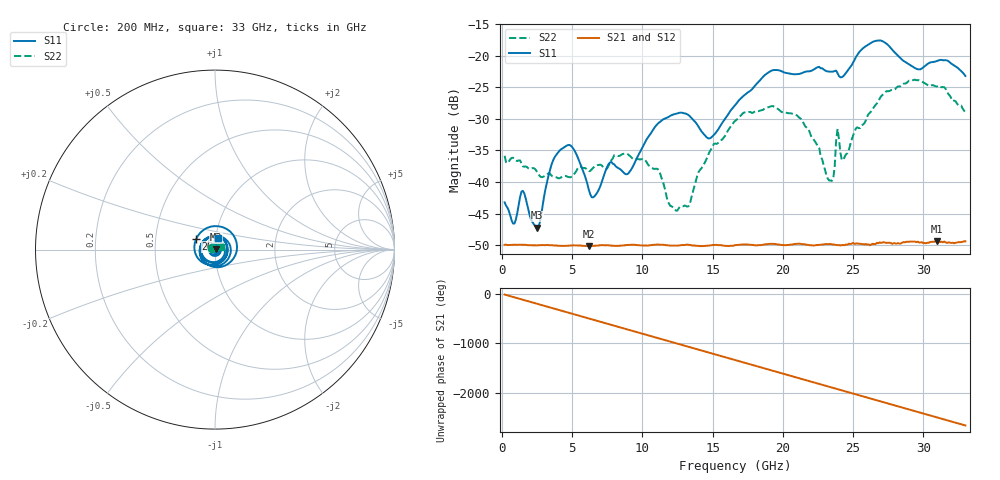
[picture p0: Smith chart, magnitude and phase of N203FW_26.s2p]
# GHZ S RI R 50
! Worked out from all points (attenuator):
!   329 points, 200 MHz to 33 GHz, reference 50 ohm
!   highest |S21| = -49.38 dB at 31 GHz (marker M1); lowest = -50.2 dB at 6.2 GHz (marker M2)
!   lowest |S11| = -47.2 dB at 2.5 GHz (marker M3), VSWR 1.01, Z = 50.4 + j0.261 ohm
!   |S11| at or under -10 dB: start of sweep to end of sweep
!   |S22| runs from -44.5 to -23.8 dB; largest |S21 - S12| = 8.8e-05
!   S11 on the Smith chart (normalised r, x): 200 MHz: 1.01, +0.01; 26 GHz: 0.80, +0.10; 33 GHz: 1.03, +0.14
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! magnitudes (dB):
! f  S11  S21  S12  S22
! 200 MHz  -43.2  -50.0  -49.9  -35.9
! 900 MHz  -46.6  -49.9  -49.9  -36.4
! 1.5 GHz  -41.4  -50.0  -49.9  -37.5
! 2.5 GHz  -47.2  -50.1  -50.0  -38.4
! 3.9 GHz  -35.6  -50.1  -50.1  -39.3
! 5.7 GHz  -37.8  -50.1  -50.1  -37.7
! 6.2 GHz  -41.3  -50.2  -50.1  -38.3
! 9 GHz  -38.7  -50.0  -50.0  -35.7
! 11.2 GHz  -30.6  -49.9  -49.9  -38.2
! 12 GHz  -29.5  -50.1  -50.1  -43.8
! 13.3 GHz  -29.4  -50.0  -50.0  -43.8
! 14.8 GHz  -33.1  -50.1  -50.0  -35.2
! 16.6 GHz  -27.9  -50.0  -50.0  -30.3
! 19.3 GHz  -22.3  -49.8  -49.8  -28.0
! 22.1 GHz  -22.3  -50.0  -50.0  -33.0
! 23.5 GHz  -22.5  -49.9  -49.8  -39.8
! 23.9 GHz  -22.8  -50.0  -50.0  -31.6
! 24.3 GHz  -23.3  -50.0  -49.9  -36.6
! 26 GHz  -18.4  -49.9  -49.9  -29.7
! 27.6 GHz  -18.6  -49.6  -49.6  -25.6
! 31 GHz  -20.8  -49.4  -49.4  -24.8
! 33 GHz  -23.2  -49.4  -49.4  -28.9
